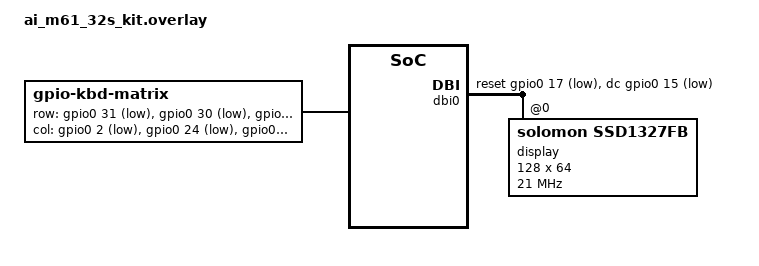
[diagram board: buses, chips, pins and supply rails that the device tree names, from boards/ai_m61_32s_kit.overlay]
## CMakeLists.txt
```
cmake_minimum_required(VERSION 3.20.0)

find_package(Zephyr REQUIRED HINTS $ENV{ZEPHYR_BASE})

project(strategy_game)

target_sources(app PRIVATE src/main.c)

zephyr_include_directories(include)
```

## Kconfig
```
menu "Zephyr"
source "Kconfig.zephyr"
endmenu

module = STRATEGY_GAME
module-str = STRATEGY_GAME
source "subsys/logging/Kconfig.template.log_config"
```

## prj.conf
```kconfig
CONFIG_DISPLAY=y
CONFIG_LOG=y
CONFIG_L3=y
CONFIG_ENGINE=y
CONFIG_HEAP_MEM_POOL_SIZE=4096
CONFIG_INPUT=y
CONFIG_MAIN_STACK_SIZE=4096
CONFIG_TIMING_FUNCTIONS=y
CONFIG_SPEED_OPTIMIZATIONS=y
CONFIG_LOG_PERFORMANCE=n
CONFIG_TEST_RANDOM_GENERATOR=y
CONFIG_TIMER_RANDOM_GENERATOR=y
CONFIG_GPIO=y
CONFIG_COMPILER_OPT="-Ofast -ffast-math"
CONFIG_DATA_PATH="../data"

#LVGL
CONFIG_LVGL=y
CONFIG_LV_USE_LOG=y
CONFIG_LV_Z_FLUSH_THREAD=n
CONFIG_LV_Z_MEM_POOL_SIZE=4096
CONFIG_LV_FONT_UNSCII_8=y
CONFIG_LV_CONF_MINIMAL=y
CONFIG_LV_USE_LABEL=y
CONFIG_LV_COLOR_DEPTH_8=y
```

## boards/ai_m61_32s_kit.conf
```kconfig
CONFIG_TARGET_PROCESS_FPS=30
CONFIG_TARGET_RENDER_FPS=15
CONFIG_RESOLUTION_X=128
CONFIG_RESOLUTION_Y=64
CONFIG_SSD1327_DEFAULT_CONTRAST=160
CONFIG_SSD1327_CONV_BUFFER_LINES=64
CONFIG_SSD1325_DEFAULT_CONTRAST=160
CONFIG_SSD1325_CONV_BUFFER_LINES=64
CONFIG_LV_DEF_REFR_PERIOD=5
CONFIG_ISR_STACK_SIZE=8192
CONFIG_MAIN_STACK_SIZE=8192
CONFIG_BLIT_THREAD_STACK=8192
CONFIG_RENDER_THREAD_STACK=8192
CONFIG_PROCESS_THREAD_STACK=8192
CONFIG_LOG_BUFFER_SIZE=4096
CONFIG_COMPILER_OPT="-Ofast -ffast-math -funroll-loops -finline-functions -falign-functions=4 -falign-jumps=4 -falign-loops=4 -mbranch-cost=256 -march=unset -march=rv32imafc_zicsr_zifencei_xtheadba_xtheadbb"
```

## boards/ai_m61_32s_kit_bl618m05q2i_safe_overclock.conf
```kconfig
CONFIG_TARGET_PROCESS_FPS=30
CONFIG_TARGET_RENDER_FPS=23
CONFIG_RESOLUTION_X=128
CONFIG_RESOLUTION_Y=64
CONFIG_SSD1327_DEFAULT_CONTRAST=160
CONFIG_SSD1327_CONV_BUFFER_LINES=64
CONFIG_SSD1325_DEFAULT_CONTRAST=160
CONFIG_SSD1325_CONV_BUFFER_LINES=64
CONFIG_LV_DEF_REFR_PERIOD=5
CONFIG_ISR_STACK_SIZE=8192
CONFIG_MAIN_STACK_SIZE=8192
CONFIG_BLIT_THREAD_STACK=8192
CONFIG_RENDER_THREAD_STACK=8192
CONFIG_PROCESS_THREAD_STACK=8192
CONFIG_LOG_BUFFER_SIZE=4096
CONFIG_COMPILER_OPT="-Ofast -ffast-math -funroll-loops -finline-functions -falign-functions=4 -falign-jumps=4 -falign-loops=4 -mbranch-cost=256 -march=unset -march=rv32imafc_zicsr_zifencei_xtheadba_xtheadbb"
```

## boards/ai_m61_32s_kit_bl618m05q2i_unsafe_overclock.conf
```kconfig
CONFIG_TARGET_PROCESS_FPS=35
CONFIG_TARGET_RENDER_FPS=26
CONFIG_RESOLUTION_X=128
CONFIG_RESOLUTION_Y=64
CONFIG_SSD1327_DEFAULT_CONTRAST=160
CONFIG_SSD1327_CONV_BUFFER_LINES=64
CONFIG_SSD1325_DEFAULT_CONTRAST=160
CONFIG_SSD1325_CONV_BUFFER_LINES=64
CONFIG_LV_DEF_REFR_PERIOD=5
CONFIG_ISR_STACK_SIZE=8192
CONFIG_MAIN_STACK_SIZE=8192
CONFIG_BLIT_THREAD_STACK=8192
CONFIG_RENDER_THREAD_STACK=8192
CONFIG_PROCESS_THREAD_STACK=8192
CONFIG_LOG_BUFFER_SIZE=4096
CONFIG_COMPILER_OPT="-Ofast -ffast-math -funroll-loops -finline-functions -falign-functions=4 -falign-jumps=4 -falign-loops=4 -mbranch-cost=256 -march=unset -march=rv32imafc_zicsr_zifencei_xtheadba_xtheadbb"
```

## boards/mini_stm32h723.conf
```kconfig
CONFIG_TARGET_PROCESS_FPS=30
CONFIG_TARGET_RENDER_FPS=30
CONFIG_RESOLUTION_X=160
CONFIG_RESOLUTION_Y=80
CONFIG_LV_DEF_REFR_PERIOD=5
CONFIG_LOG_BUFFER_SIZE=4096
CONFIG_COMPILER_OPT="-Ofast -ffast-math -funroll-loops -finline-functions -falign-functions=4 -falign-jumps=4 -falign-loops=4"
```

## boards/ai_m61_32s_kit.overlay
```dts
#include <zephyr/dt-bindings/input/keymap.h>

/* Use 80 MHz Flash clock*/
&clk_flash {
	read-delay = <1>;
	divider = <1>;
};

&pinctrl {
	dbi0_default: dbi0_default {
		group1 {
			pinmux = <GPIO12_DBI_C_SCL>,
				 <GPIO14_DBI_C_SDA>;
			drive-strength = <1>;
			input-schmitt-enable;
			bias-pull-down;
		};
	};
};


&dbi0 {
	status = "okay";

	cs-gpios = <&gpio0 16 GPIO_ACTIVE_LOW>;
	dc-gpios = <&gpio0 15 GPIO_ACTIVE_LOW>;
	reset-gpios = <&gpio0 17 GPIO_ACTIVE_LOW>;
	#address-cells = <1>;
	#size-cells = <0>;

	display: ssd1327@0 {
		compatible = "solomon,ssd1327fb";
		mipi-max-frequency = <21000000>;
		reg = <0>;
		width = <128>;
		height = <64>;
		prechargep = <0x5>;
		precharge-voltage = <0x7>;
		remap-value = <0x53>;
		oscillator-freq = <0xA1>;
		display-offset = <0x40>;
		start-line = <0>;
		multiplex-ratio = <0x3f>;
		phase-length = <0x29>;
		mipi-mode = "MIPI_DBI_MODE_SPI_4WIRE";
		grayscale-table = [04 06 08 0A 0C 0D 10 12 14 16 18 1C 20 24 3C];
	};

	dmas = <&dma0 0 0x14>;
	dma-names = "tx";
	pinctrl-names = "default";
	pinctrl-0 = <&dbi0_default>;
};

&spi0 {
	status = "disabled";
};


// &i2c0 {
// 	status = "okay";
// 	
// 	clock-frequency = <I2C_BITRATE_FAST_PLUS>;
// 
// 	display: ssd1306@3c {
// 		compatible = "sinowealth,sh1106";
// 		reg = <0x3c>;
// 		width = <128>;
// 		height = <64>;
// 		segment-offset = <0>;
// 		page-offset = <0>;
// 		display-offset = <0>;
// 		multiplex-ratio = <63>;
// 		segment-remap;
// 		com-invdir;
// 		prechargep = <0x22>;
// 	};	
// };

// &i2c0 {
// 	status = "okay";
// 	
// 	clock-frequency = <I2C_BITRATE_FAST_PLUS>;
// 
// 	display: ssd1309@3c {
// 		compatible = "solomon,ssd1309fb";
// 		reg = <0x3c>;
// 		width = <128>;
// 		height = <64>;
// 		segment-offset = <0>;
// 		page-offset = <0>;
// 		display-offset = <0>;
// 		multiplex-ratio = <63>;
// 		segment-remap;
// 		com-invdir;
// 		prechargep = <0x22>;
// 	};	
// };


/ {
	chosen {
		zephyr,display = &display;
	};
};

&gpio0 {
	status = "okay";
};

/ {
	kbd-matrix {
		compatible = "gpio-kbd-matrix";
		row-gpios = <&gpio0 31 (GPIO_PULL_UP | GPIO_ACTIVE_LOW)>,
					<&gpio0 30 (GPIO_PULL_UP | GPIO_ACTIVE_LOW)>,
					<&gpio0 25 (GPIO_PULL_UP | GPIO_ACTIVE_LOW)>,
					<&gpio0 27 (GPIO_PULL_UP | GPIO_ACTIVE_LOW)>,
					<&gpio0 29 (GPIO_PULL_UP | GPIO_ACTIVE_LOW)>;
		col-gpios = <&gpio0 2 GPIO_ACTIVE_LOW>,
					<&gpio0 24 GPIO_ACTIVE_LOW>,
					<&gpio0 28 GPIO_ACTIVE_LOW>,
					<&gpio0 26 GPIO_ACTIVE_LOW>;
		keymap {
			compatible = "input-keymap";
			keymap = <
				MATRIX_KEY(3, 1, INPUT_KEY_W)
				MATRIX_KEY(4, 1, INPUT_KEY_S)
				MATRIX_KEY(4, 0, INPUT_KEY_A)
				MATRIX_KEY(4, 2, INPUT_KEY_D)
				MATRIX_KEY(3, 0, INPUT_KEY_LEFT)
				MATRIX_KEY(3, 2, INPUT_KEY_RIGHT)
				MATRIX_KEY(1, 3, INPUT_KEY_UP)
				MATRIX_KEY(2, 3, INPUT_KEY_DOWN)
				MATRIX_KEY(3, 3, INPUT_KEY_LEFTSHIFT)
				MATRIX_KEY(4, 3, INPUT_KEY_SPACE)
			>;
			row-size = <5>;
			col-size = <4>;
		};
	};
};
```

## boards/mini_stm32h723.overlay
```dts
#include <zephyr/dt-bindings/input/keymap.h>

&spi1 {
	status = "disabled";
};
&sdmmc1 {
	status = "disabled";
};

/delete-node/ &dcmi_camera_connector;

/ {
	kbd-matrix {
		compatible = "gpio-kbd-matrix";
		row-gpios = <&gpioe 0 (GPIO_PULL_UP | GPIO_ACTIVE_LOW)>,
					<&gpiob 8 (GPIO_PULL_UP | GPIO_ACTIVE_LOW)>,
					<&gpiob 6 (GPIO_PULL_UP | GPIO_ACTIVE_LOW)>,
					<&gpiob 4 (GPIO_PULL_UP | GPIO_ACTIVE_LOW)>,
					<&gpiod 7 (GPIO_PULL_UP | GPIO_ACTIVE_LOW)>;
		col-gpios = <&gpioc 12 GPIO_ACTIVE_LOW>,
					<&gpiod 1 GPIO_ACTIVE_LOW>,
					<&gpiod 3 GPIO_ACTIVE_LOW>,
					<&gpiod 5 GPIO_ACTIVE_LOW>;
		keymap {
			compatible = "input-keymap";
			keymap = <
				MATRIX_KEY(3, 1, INPUT_KEY_W)
				MATRIX_KEY(4, 1, INPUT_KEY_S)
				MATRIX_KEY(4, 0, INPUT_KEY_A)
				MATRIX_KEY(4, 2, INPUT_KEY_D)
				MATRIX_KEY(3, 0, INPUT_KEY_LEFT)
				MATRIX_KEY(3, 2, INPUT_KEY_RIGHT)
				MATRIX_KEY(1, 3, INPUT_KEY_UP)
				MATRIX_KEY(2, 3, INPUT_KEY_DOWN)
				MATRIX_KEY(3, 3, INPUT_KEY_LEFTSHIFT)
				MATRIX_KEY(4, 3, INPUT_KEY_SPACE)
			>;
			row-size = <5>;
			col-size = <4>;
		};
	};
};
```

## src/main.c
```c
#include <zephyr/kernel.h>
#include <zephyr/drivers/display.h>
#include <zephyr/timing/timing.h>
#include <stdio.h>
#include <stdlib.h>

#include <zephyr/logging/log.h>
LOG_MODULE_REGISTER(main);

#include "engine.h"
#include "logo_scene.h"
#include "context.h"

#include "generated_objects.h"

static const struct device *display_device = DEVICE_DT_GET(DT_CHOSEN(zephyr_display));

int main()
{

	for (int i = 0; i < DT_ZEPHYR_DISPLAYS_COUNT; i++) {
		if (!device_is_ready(engine_display_devices[i])) {
			LOG_ERR("Display device %d is not ready", i);
			return -ENODEV;
		}
	}

	timing_init();
	timing_start();

	k_msleep(100);
	display_blanking_on(display_device);
	display_blanking_off(display_device);

	printf("%x", generated_object_list);

	init_engine(&context_engine_pf);

	engine_switchscene(&logo_scene);

	return 0;
}
```

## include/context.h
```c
#pragma once

typedef enum {
	LOGO = 0,
	MAIN_MENU = 1,

} Strategy_Context;


void context_engine_pf(void);

Strategy_Context get_strategy_context(void);
```

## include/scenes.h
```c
#pragma once

extern Engine_Scene strategy_menu_scene;
```

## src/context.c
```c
#include <zephyr/logging/log.h>
LOG_MODULE_REGISTER(app_context);

#include "engine.h"
#include "context.h"
#include "scenes.h"

static Strategy_Context current_context = LOGO;
static uint32_t ticks = 0;
static k_timepoint_t logo_timeout;

static void context_engine_pf_init(void)
{
	logo_timeout = sys_timepoint_calc(K_SECONDS(1));
}

void context_engine_pf(void)
{
	if (ticks == 0) {
		context_engine_pf_init();
	}
	if (sys_timepoint_expired(logo_timeout) && current_context == LOGO)
	{
		current_context = MAIN_MENU;
		engine_switchscene(&strategy_menu_scene);
	}
	ticks++;
}

Strategy_Context get_strategy_context(void)
{
	return current_context;
}
```

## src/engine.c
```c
#include <zephyr/kernel.h>
#include <zephyr/device.h>
#include <zephyr/drivers/display.h>
#include <zephyr/logging/log.h>
LOG_MODULE_REGISTER(app_engine);

#include "engine.h"

static const struct device *display_device = DEVICE_DT_GET(DT_CHOSEN(zephyr_display));

int blit_display_L8(L3_COLORTYPE *buffer, uint16_t x, uint16_t y, uint16_t size_x, uint16_t size_y)
{
	struct display_buffer_descriptor buf_desc;
	buf_desc.buf_size = size_x * size_y;
	buf_desc.width = size_x;
	buf_desc.height = size_y;
	buf_desc.pitch = size_x;

	display_write(display_device, x, y, &buf_desc, buffer);

	return 0;
}

int blit_display_MONO(L3_COLORTYPE *buffer, uint16_t x, uint16_t y, uint16_t size_x, uint16_t size_y)
{
	struct display_buffer_descriptor buf_desc;
	uint8_t buf[128] = {0};

	if (size_y < 8 || (y & 0x7) != 0 || (size_y & 0x7) != 0) {
		LOG_ERR("Bad position or size");
	}

	buf_desc.buf_size = size_x;
	buf_desc.width = size_x;
	buf_desc.height = 8;
	buf_desc.pitch = size_x;

	for (int j = 0; j < size_y; j+= 8) {
		for (int i = 0; i < size_x; i++) {
			buf[i] = buffer[i + (j + 0) * size_x] > 128 ? buf[i] | 1<<0 : buf[i] & ~(1<<0);
			buf[i] = buffer[i + (j + 1) * size_x] > 128 ? buf[i] | 1<<1 : buf[i] & ~(1<<1);
			buf[i] = buffer[i + (j + 2) * size_x] > 128 ? buf[i] | 1<<2 : buf[i] & ~(1<<2);
			buf[i] = buffer[i + (j + 3) * size_x] > 128 ? buf[i] | 1<<3 : buf[i] & ~(1<<3);
			buf[i] = buffer[i + (j + 4) * size_x] > 128 ? buf[i] | 1<<4 : buf[i] & ~(1<<4);
			buf[i] = buffer[i + (j + 5) * size_x] > 128 ? buf[i] | 1<<5 : buf[i] & ~(1<<5);
			buf[i] = buffer[i + (j + 6) * size_x] > 128 ? buf[i] | 1<<6 : buf[i] & ~(1<<6);
			buf[i] = buffer[i + (j + 7) * size_x] > 128 ? buf[i] | 1<<7 : buf[i] & ~(1<<7);
		}
		display_write(display_device, x, j, &buf_desc, buf);
	}

	return 0;
}

int blit_display_MONO_dither(L3_COLORTYPE *buffer, uint16_t x, uint16_t y, uint16_t size_x, uint16_t size_y)
{
	struct display_buffer_descriptor buf_desc;
	uint8_t buf[128] = {0};
	int error = 0;

	if (size_y < 8 || (y & 0x7) != 0 || (size_y & 0x7) != 0) {
		LOG_ERR("Bad position or size");
	}

	buf_desc.buf_size = size_x;
	buf_desc.width = size_x;
	buf_desc.height = 8;
	buf_desc.pitch = size_x;

#define ERR_THRE 255
#define ERR_MUL 2

	for (int j = 0; j < size_y; j+= 8) {
		for (int i = 0; i < size_x; i++) {
			error += buffer[i + (j + 0) * size_x];
			if (error > ERR_THRE) {
				buf[i] |= 1 << 0;
				error -= ERR_THRE * ERR_MUL;
			} else {
				buf[i] &= ~(1<<0);
			}
			error += buffer[i + (j + 1) * size_x];
			if (error > ERR_THRE) {
				buf[i] |= 1 << 1;
				error -= ERR_THRE * ERR_MUL;
			} else {
				buf[i] &= ~(1<<1);
			}
			error += buffer[i + (j + 2) * size_x];
			if (error > ERR_THRE) {
				buf[i] |= 1 << 2;
				error -= ERR_THRE * ERR_MUL;
			} else {
				buf[i] &= ~(1<<2);
			}
			error += buffer[i + (j + 3) * size_x];
			if (error > ERR_THRE) {
				buf[i] |= 1 << 3;
				error -= ERR_THRE * ERR_MUL;
			} else {
				buf[i] &= ~(1<<3);
			}
			error += buffer[i + (j + 4) * size_x];
			if (error > ERR_THRE) {
				buf[i] |= 1 << 4;
				error -= ERR_THRE * ERR_MUL;
			} else {
				buf[i] &= ~(1<<4);
			}
			error += buffer[i + (j + 5) * size_x];
			if (error > ERR_THRE) {
				buf[i] |= 1 << 5;
				error -= ERR_THRE * ERR_MUL;
			} else {
				buf[i] &= ~(1<<5);
			}
			error += buffer[i + (j + 6) * size_x];
			if (error > ERR_THRE) {
				buf[i] |= 1 << 6;
				error -= ERR_THRE * ERR_MUL;
			} else {
				buf[i] &= ~(1<<6);
			}
			error += buffer[i + (j + 7) * size_x];
			if (error > ERR_THRE) {
				buf[i] |= 1 << 7;
				error -= ERR_THRE * ERR_MUL;
			} else {
				buf[i] &= ~(1<<7);
			}
			/* buf[i] = buffer[i + (j + 0) * size_x] > 85 ? buf[i] | 1<<0 : buf[i] & ~(1<<0);
			buf[i] = buffer[i + (j + 0) * size_x] > 170 ? buf[i] | 1<<1 : buf[i] & ~(1<<1);
			buf[i] = buffer[i + (j + 1) * size_x] > 85 ? buf[i] | 1<<2 : buf[i] & ~(1<<2);
			buf[i] = buffer[i + (j + 1) * size_x] > 170 ? buf[i] | 1<<3 : buf[i] & ~(1<<3);
			buf[i] = buffer[i + (j + 2) * size_x] > 85 ? buf[i] | 1<<4 : buf[i] & ~(1<<4);
			buf[i] = buffer[i + (j + 2) * size_x] > 170 ? buf[i] | 1<<5 : buf[i] & ~(1<<5);
			buf[i] = buffer[i + (j + 3) * size_x] > 85 ? buf[i] | 1<<6 : buf[i] & ~(1<<6);
			buf[i] = buffer[i + (j + 3) * size_x] > 170 ? buf[i] | 1<<7 : buf[i] & ~(1<<7); */
		}
		display_write(display_device, x, j, &buf_desc, buf);
	}

	return 0;
}

int blit_display_RGB565(L3_COLORTYPE *buffer, uint16_t x, uint16_t y, uint16_t size_x, uint16_t size_y)
{
	struct display_buffer_descriptor buf_desc;
	uint16_t buf[160] = {0};
	buf_desc.buf_size = size_x * 2;
	buf_desc.width = size_x;
	buf_desc.height = 1;
	buf_desc.pitch = size_x;

	for (int j = y; j < size_y; j+= 1) {
		for (int i = 0; i < size_x; i++) {
			buf[i] = (uint16_t)(buffer[i + j * size_x] & 0xF8);
		}
		display_write(display_device, x, j, &buf_desc, buf);
	}
	return 0;
}

int blit_display(L3_COLORTYPE *buffer, uint16_t x, uint16_t y, uint16_t size_x, uint16_t size_y)
{
	return blit_display_L8(buffer, x, y, size_x, size_y);
}
```

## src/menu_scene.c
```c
#include <zephyr/kernel.h>
#include "engine.h"

typedef struct Menu_Scene_Data_s {
	bool yes;
} Menu_Scene_Data;

static Menu_Scene_Data menu_scene_data = {0};

static void menu_scene_init(void *data)
{
	Menu_Scene_Data *scene_data = (Menu_Scene_Data*)data;
	scene_data->yes = true;
}

Engine_Scene strategy_menu_scene = {
	.pf = NULL,
	.statics = NULL,
	.statics_count = 0,
	.inf = menu_scene_init,
	.data = &menu_scene_data,
	.filters_count = 0,
	.skybox = NULL,
};
```
